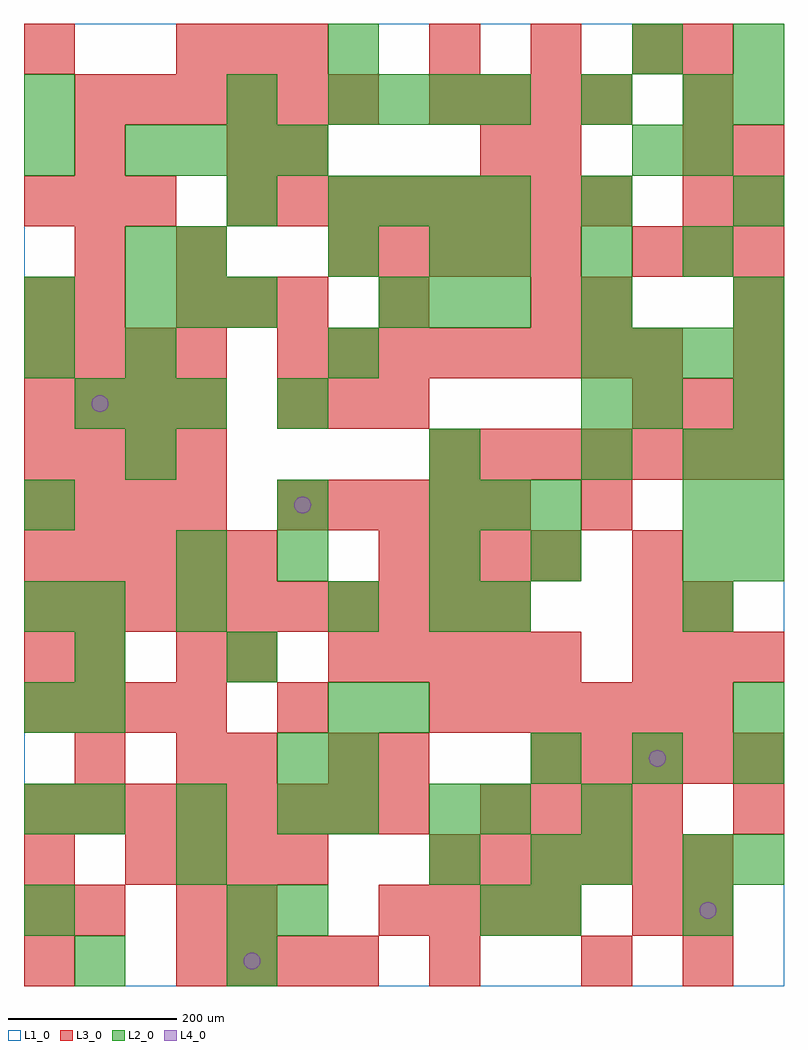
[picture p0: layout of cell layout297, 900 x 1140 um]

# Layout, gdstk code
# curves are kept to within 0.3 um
import gdstk
lib = gdstk.Library(unit=1e-6, precision=1e-09)
def R(c, l, rs):  # rectangles x0, y0, x1, y1
    for r in rs: c.add(gdstk.rectangle(r[:2], r[2:], *l))
def A(c, l, x, y, w, h, nx, ny, dx, dy):  # array of equal rectangles
    R(c, l, [(x+i*dx, y+j*dy, x+i*dx+w, y+j*dy+h) for i in range(nx) for j in range(ny)])
def P(c, l, *ps):  # polygons
    for p in ps: c.add(gdstk.Polygon(p, *l))
L1_0 = (1, 0)
L2_0 = (2, 0)
L3_0 = (3, 0)
L4_0 = (4, 0)

layout297 = lib.new_cell('layout297')
R(layout297, L1_0, [(0,0,900,1140)])
A(layout297, L2_0, 0, 60, 60, 60, 1, 5, 0, 120)
A(layout297, L2_0, 840, 120, 60, 60, 1, 3, 0, 180)
A(layout297, L2_0, 60, 180, 60, 60, 3, 1, 120, 0)
A(layout297, L2_0, 360, 180, 60, 60, 1, 3, 0, 60)
A(layout297, L2_0, 600, 240, 60, 60, 3, 1, 120, 0)
A(layout297, L2_0, 60, 300, 60, 60, 1, 3, 0, 60)
A(layout297, L2_0, 780, 420, 60, 60, 1, 4, 0, 60)
A(layout297, L2_0, 480, 540, 60, 60, 3, 1, 60, 0)
A(layout297, L2_0, 840, 540, 60, 60, 1, 3, 0, 60)
A(layout297, L2_0, 120, 600, 60, 60, 1, 3, 0, 120)
A(layout297, L2_0, 60, 660, 60, 60, 3, 1, 60, 0)
A(layout297, L2_0, 660, 660, 60, 60, 1, 4, 0, 120)
A(layout297, L2_0, 660, 720, 60, 60, 4, 1, 60, 0)
A(layout297, L2_0, 120, 780, 60, 60, 3, 1, 60, 0)
A(layout297, L2_0, 420, 780, 60, 60, 3, 1, 60, 0)
A(layout297, L2_0, 840, 780, 60, 60, 1, 3, 0, 120)
A(layout297, L2_0, 540, 840, 60, 60, 3, 1, 120, 0)
A(layout297, L2_0, 360, 900, 60, 60, 4, 2, 60, 120)
A(layout297, L2_0, 120, 960, 60, 60, 4, 1, 60, 0)
R(layout297, L2_0, [(60,0,120,60), (240,0,300,60), (240,60,300,120), (300,60,360,120), (540,60,600,120), (600,60,660,120), (780,60,840,120), (180,120,240,180), (480,120,540,180), (600,120,660,180), (660,120,720,180), (780,120,840,180), (480,180,540,240), (540,180,600,240), (660,180,720,240), (300,240,360,300), (420,300,480,360), (240,360,300,420), (180,420,240,480), (360,420,420,480), (480,420,540,480), (540,420,600,480), (180,480,240,540), (300,480,360,540), (480,480,540,540), (600,480,660,540), (300,540,360,600), (480,600,540,660), (660,600,720,660), (300,660,360,720), (720,660,780,720), (0,720,60,780), (360,720,420,780), (0,780,60,840), (180,840,240,900), (360,840,420,900), (480,840,540,900), (240,900,300,960), (0,960,60,1020), (720,960,780,1020), (780,960,840,1020), (0,1020,60,1080), (240,1020,300,1080), (780,1020,840,1080), (360,1080,420,1140), (720,1080,780,1140), (840,1080,900,1140)])
A(layout297, L3_0, 0, 0, 60, 60, 1, 3, 0, 60)
A(layout297, L3_0, 180, 0, 60, 60, 4, 1, 60, 0)
A(layout297, L3_0, 420, 60, 60, 60, 4, 2, 60, 420)
A(layout297, L3_0, 120, 120, 60, 60, 4, 1, 60, 0)
A(layout297, L3_0, 480, 120, 60, 60, 6, 2, 60, 180)
A(layout297, L3_0, 0, 180, 60, 60, 8, 1, 60, 0)
A(layout297, L3_0, 540, 180, 60, 60, 4, 1, 60, 0)
A(layout297, L3_0, 600, 240, 60, 60, 5, 1, 60, 0)
A(layout297, L3_0, 0, 300, 60, 60, 4, 2, 60, 240)
A(layout297, L3_0, 360, 360, 60, 60, 5, 2, 60, 480)
A(layout297, L3_0, 720, 360, 60, 60, 3, 2, 60, 300)
A(layout297, L3_0, 0, 420, 60, 60, 10, 1, 60, 0)
A(layout297, L3_0, 0, 480, 60, 60, 5, 1, 60, 0)
A(layout297, L3_0, 300, 540, 60, 60, 5, 1, 60, 0)
A(layout297, L3_0, 0, 600, 60, 60, 4, 3, 60, 60)
A(layout297, L3_0, 480, 600, 60, 60, 7, 1, 60, 0)
A(layout297, L3_0, 300, 660, 60, 60, 3, 1, 60, 0)
A(layout297, L3_0, 300, 720, 60, 60, 8, 1, 60, 0)
A(layout297, L3_0, 180, 780, 60, 60, 3, 2, 60, 300)
A(layout297, L3_0, 720, 840, 60, 60, 3, 1, 60, 0)
A(layout297, L3_0, 0, 900, 60, 60, 3, 1, 60, 0)
A(layout297, L3_0, 240, 900, 60, 60, 8, 1, 60, 0)
A(layout297, L3_0, 780, 900, 60, 60, 1, 4, 0, 60)
A(layout297, L3_0, 60, 1020, 60, 60, 6, 1, 60, 0)
A(layout297, L3_0, 480, 1020, 60, 60, 4, 1, 60, 0)
A(layout297, L3_0, 480, 1080, 60, 60, 3, 1, 120, 0)
R(layout297, L3_0, [(480,0,540,60), (660,0,720,60), (780,0,840,60), (60,60,120,120), (180,60,240,120), (240,60,300,120), (720,60,780,120), (780,60,840,120), (840,180,900,240), (60,240,120,300), (180,240,240,300), (240,240,300,300), (360,240,420,300), (420,240,480,300), (300,300,360,360), (0,360,60,420), (60,360,120,420), (180,360,240,420), (240,360,300,420), (720,420,780,480), (780,420,840,480), (720,480,780,540), (660,540,720,600), (840,720,900,780), (0,780,60,840), (60,780,120,840), (420,780,480,840), (600,780,660,840), (660,780,720,840), (840,780,900,840), (60,840,120,900), (180,840,240,900), (840,900,900,960), (60,960,120,1020), (240,960,300,1020), (300,960,360,1020), (540,960,600,1020), (600,960,660,1020), (840,960,900,1020), (0,1080,60,1140)])
P(layout297, L4_0, [(100,690),(99.239,693.827),(97.071,697.071),(93.827,699.239),(90,700),(86.173,699.239),(82.929,697.071),(80.761,693.827),(80,690),(80.761,686.173),(82.929,682.929),(86.173,680.761),(90,680),(93.827,680.761),(97.071,682.929),(99.239,686.173)],
  [(280,30),(279.239,33.827),(277.071,37.071),(273.827,39.239),(270,40),(266.173,39.239),(262.929,37.071),(260.761,33.827),(260,30),(260.761,26.173),(262.929,22.929),(266.173,20.761),(270,20),(273.827,20.761),(277.071,22.929),(279.239,26.173)],
  [(340,570),(339.239,573.827),(337.071,577.071),(333.827,579.239),(330,580),(326.173,579.239),(322.929,577.071),(320.761,573.827),(320,570),(320.761,566.173),(322.929,562.929),(326.173,560.761),(330,560),(333.827,560.761),(337.071,562.929),(339.239,566.173)],
  [(760,270),(759.239,273.827),(757.071,277.071),(753.827,279.239),(750,280),(746.173,279.239),(742.929,277.071),(740.761,273.827),(740,270),(740.761,266.173),(742.929,262.929),(746.173,260.761),(750,260),(753.827,260.761),(757.071,262.929),(759.239,266.173)],
  [(820,90),(819.239,93.827),(817.071,97.071),(813.827,99.239),(810,100),(806.173,99.239),(802.929,97.071),(800.761,93.827),(800,90),(800.761,86.173),(802.929,82.929),(806.173,80.761),(810,80),(813.827,80.761),(817.071,82.929),(819.239,86.173)])

lib.write_gds('layout297.gds')
